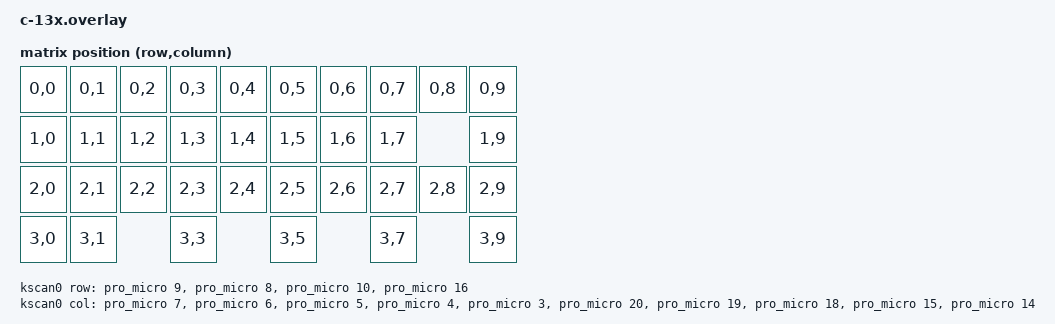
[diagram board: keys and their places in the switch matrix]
#include <dt-bindings/zmk/matrix_transform.h>

/ {
    chosen {
        zmk,kscan = &kscan0;
        /* zmk,matrix_transform удален отсюда, так как теперь он задается внутри физической раскладки */
        zmk,physical-layout = &default_layout;
    };

       default_layout: default_layout {
        compatible = "zmk,physical-layout";
        display-name = "C-13X Layout";
        transform = <&default_transform>;

        keys {
            compatible = "zmk,physical-layout-keys";
            
            // Чистый массив без использования макросов
            bindings = <
                <0 0 0 0> <0 1 0 0> <0 2 0 0> <0 3 0 0> <0 4 0 0> <0 5 0 0> <0 6 0 0> <0 7 0 0> <0 8 0 0> <0 9 0 0>
                <1 0 0 0> <1 1 0 0> <1 2 0 0> <1 3 0 0> <1 4 0 0> <1 5 0 0> <1 6 0 0> <1 7 0 0>           <1 9 0 0>
                <2 0 0 0> <2 1 0 0> <2 2 0 0> <2 3 0 0> <2 4 0 0> <2 5 0 0> <2 6 0 0> <2 7 0 0> <2 8 0 0> <2 9 0 0>
                <3 0 0 0> <3 1 0 0>           <3 3 0 0>           <3 5 0 0>           <3 7 0 0>           <3 9 0 0>
            >;
        };
    };


    default_transform: keymap_transform_0 {
        compatible = "zmk,matrix-transform";
        rows = <4>;
        columns = <10>;
        map = <
            RC(0,0)  RC(0,1)  RC(0,2)  RC(0,3)  RC(0,4)  RC(0,5)  RC(0,6)  RC(0,7)  RC(0,8)  RC(0,9)
            RC(1,0)  RC(1,1)  RC(1,2)  RC(1,3)  RC(1,4)  RC(1,5)  RC(1,6)  RC(1,7)           RC(1,9)
            RC(2,0)  RC(2,1)  RC(2,2)  RC(2,3)  RC(2,4)  RC(2,5)  RC(2,6)  RC(2,7)  RC(2,8)  RC(2,9)
            RC(3,0)  RC(3,1)           RC(3,3)           RC(3,5)           RC(3,7)           RC(3,9)
        >;
    };

    kscan0: kscan {
        compatible = "zmk,kscan-gpio-matrix";
        label = "KSCAN";
        wakeup-source;
        diode-direction = "col2row";
        debounce-press-ms = <10>;
        debounce-release-ms = <10>;

        row-gpios
            = <&pro_micro 9 (GPIO_ACTIVE_HIGH | GPIO_PULL_DOWN)>
            , <&pro_micro 8 (GPIO_ACTIVE_HIGH | GPIO_PULL_DOWN)>
            , <&pro_micro 10 (GPIO_ACTIVE_HIGH | GPIO_PULL_DOWN)>
            , <&pro_micro 16 (GPIO_ACTIVE_HIGH | GPIO_PULL_DOWN)>
            ;
        
        col-gpios
            = <&pro_micro 7 GPIO_ACTIVE_HIGH>
            , <&pro_micro 6 GPIO_ACTIVE_HIGH>
            , <&pro_micro 5 GPIO_ACTIVE_HIGH>
            , <&pro_micro 4 GPIO_ACTIVE_HIGH>
            , <&pro_micro 3 GPIO_ACTIVE_HIGH>
            , <&pro_micro 20 GPIO_ACTIVE_HIGH>
            , <&pro_micro 19 GPIO_ACTIVE_HIGH>
            , <&pro_micro 18 GPIO_ACTIVE_HIGH>
            , <&pro_micro 15 GPIO_ACTIVE_HIGH>
            , <&pro_micro 14 GPIO_ACTIVE_HIGH>
            ;
    };
};
